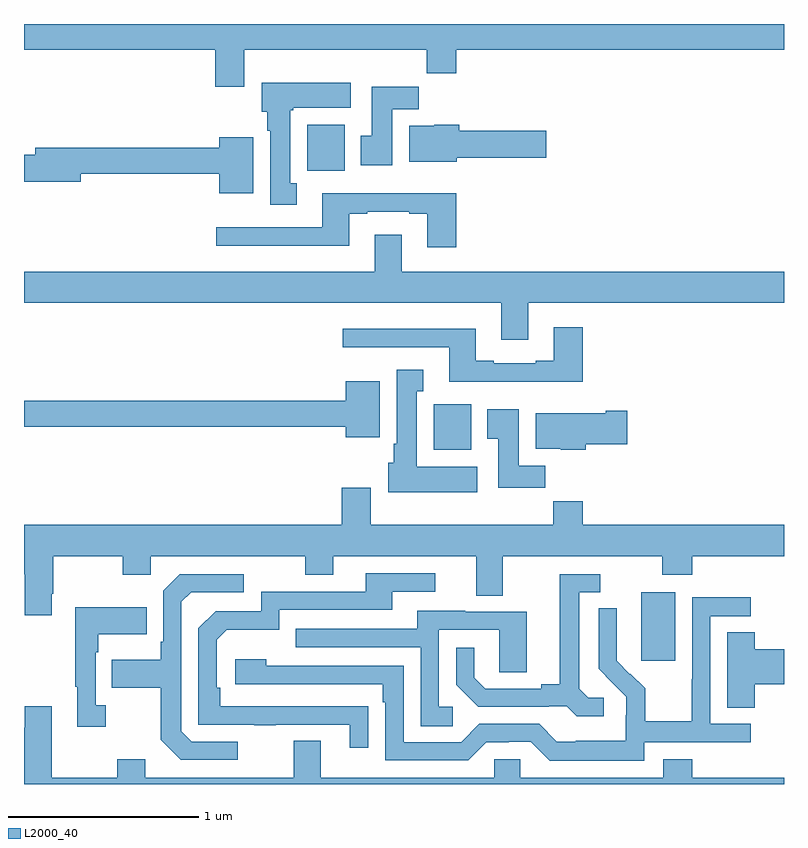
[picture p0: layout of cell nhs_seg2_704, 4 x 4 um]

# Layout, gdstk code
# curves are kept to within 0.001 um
import gdstk
lib = gdstk.Library(unit=1e-6, precision=1e-09)
def R(c, l, rs):  # rectangles x0, y0, x1, y1
    for r in rs: c.add(gdstk.rectangle(r[:2], r[2:], *l))
def P(c, l, *ps):  # polygons
    for p in ps: c.add(gdstk.Polygon(p, *l))
L2000_40 = (2000, 40)

nhs_seg2_704 = lib.new_cell('nhs_seg2_704')
R(nhs_seg2_704, L2000_40, [(150.248,616.449,150.427,616.81), (149.156,617.558,149.353,617.8), (148.49,619.028,148.687,619.27)])
P(nhs_seg2_704, L2000_40, [(151,619.8),(147,619.8),(147,619.664),(148.007,619.664),(148.007,619.47),(148.159,619.47),(148.159,619.664),(149.119,619.664),(149.119,619.54),(149.276,619.54),(149.276,619.664),(151,619.664)],
  [(148.435,618.962),(148.402,618.962),(148.402,619.345),(148.416,619.345),(148.416,619.358),(148.72,619.358),(148.72,619.492),(148.25,619.492),(148.25,619.338),(148.28,619.338),(148.28,619.238),(148.295,619.238),(148.295,618.849),(148.435,618.849)],
  [(148.939,619.352),(149.078,619.352),(149.078,619.471),(148.829,619.471),(148.829,619.212),(148.772,619.212),(148.772,619.056),(148.939,619.056)],
  [(149.278,619.097),(149.749,619.097),(149.749,619.239),(149.291,619.239),(149.291,619.27),(149.16,619.27),(149.16,619.264),(149.027,619.264),(149.027,619.076),(149.278,619.076)],
  [(148.207,619.204),(148.028,619.204),(148.028,619.148),(147.059,619.148),(147.059,619.112),(147,619.112),(147,618.97),(147.298,618.97),(147.298,619.012),(148.028,619.012),(148.028,618.908),(148.207,618.908)],
  [(149.276,618.91),(148.571,618.91),(148.571,618.729),(148.011,618.729),(148.011,618.632),(148.711,618.632),(148.711,618.801),(148.807,618.801),(148.807,618.813),(149.027,618.813),(149.027,618.801),(149.123,618.801),(149.123,618.624),(149.276,618.624)],
  [(149.653,618.332),(151,618.332),(151,618.496),(148.987,618.496),(148.987,618.691),(148.847,618.691),(148.847,618.496),(147,618.496),(147,618.332),(149.513,618.332),(149.513,618.138),(149.653,618.138)],
  [(149.942,618.205),(149.789,618.205),(149.789,618.028),(149.693,618.028),(149.693,618.015),(149.473,618.015),(149.473,618.028),(149.377,618.028),(149.377,618.196),(148.677,618.196),(148.677,618.099),(149.237,618.099),(149.237,617.918),(149.942,617.918)],
  [(149.386,617.47),(149.068,617.47),(149.068,617.867),(149.101,617.867),(149.101,617.98),(148.961,617.98),(148.961,617.59),(148.946,617.59),(148.946,617.49),(148.916,617.49),(148.916,617.336),(149.386,617.336)],
  [(148.873,617.92),(148.694,617.92),(148.694,617.816),(147,617.816),(147,617.68),(148.694,617.68),(148.694,617.624),(148.873,617.624)],
  [(149.744,617.476),(149.605,617.476),(149.605,617.773),(149.438,617.773),(149.438,617.617),(149.495,617.617),(149.495,617.358),(149.744,617.358)],
  [(149.957,617.587),(150.175,617.587),(150.175,617.765),(150.062,617.765),(150.062,617.752),(149.693,617.752),(149.693,617.564),(149.826,617.564),(149.826,617.558),(149.957,617.558)],
  [(147,616.904),(147.005,616.904),(147.005,616.689),(147.145,616.689),(147.145,616.801),(147.153,616.801),(147.153,617),(147.52,617),(147.52,616.901),(147.666,616.901),(147.666,617),(148.48,617),(148.48,616.901),(148.627,616.901),(148.627,617),(149.381,617),(149.381,616.792),(149.521,616.792),(149.521,617),(150.358,617),(150.358,616.901),(150.518,616.901),(150.518,617),(151,617),(151,617.164),(149.942,617.164),(149.942,617.288),(149.785,617.288),(149.785,617.164),(148.825,617.164),(148.825,617.359),(148.673,617.359),(148.673,617.164),(147,617.164)],
  [(148.811,616.208),(148.034,616.209),(148.034,616.306),(148.014,616.306),(148.014,616.56),(148.067,616.613),(148.344,616.613),(148.344,616.716),(148.939,616.716),(148.939,616.812),(149.164,616.812),(149.164,616.908),(148.799,616.908),(148.799,616.812),(148.248,616.812),(148.248,616.71),(148.008,616.71),(147.918,616.62),(147.918,616.113),(148.213,616.113),(148.213,616.108),(148.325,616.108),(148.325,616.113),(148.715,616.113),(148.715,615.99),(148.811,615.99)],
  [(150.052,616.254),(149.97,616.254),(149.923,616.301),(149.923,616.809),(150.034,616.809),(150.034,616.905),(149.819,616.905),(149.819,616.325),(149.723,616.325),(149.723,616.302),(149.428,616.302),(149.371,616.359),(149.371,616.516),(149.274,616.516),(149.274,616.322),(149.39,616.206),(149.762,616.206),(149.762,616.209),(149.856,616.209),(149.908,616.157),(150.052,616.157)],
  [(148.126,616.023),(147.882,616.023),(147.828,616.077),(147.828,616.758),(147.879,616.809),(148.156,616.809),(148.156,616.905),(147.819,616.905),(147.732,616.818),(147.732,616.549),(147.72,616.549),(147.72,616.453),(147.463,616.453),(147.463,616.306),(147.72,616.306),(147.72,616.033),(147.825,615.927),(148.126,615.927)],
  [(150.264,616.02),(150.826,616.02),(150.826,616.116),(150.612,616.116),(150.612,616.683),(150.826,616.683),(150.826,616.782),(150.516,616.782),(150.516,616.352),(150.514,616.352),(150.514,616.129),(150.269,616.129),(150.269,616.303),(150.192,616.38),(150.189,616.377),(150.119,616.448),(150.12,616.724),(150.024,616.724),(150.024,616.406),(150.17,616.258),(150.17,616.161),(150.168,616.161),(150.168,616.027),(149.905,616.027),(149.905,616.023),(149.805,616.023),(149.712,616.116),(149.397,616.116),(149.301,616.02),(148.998,616.02),(148.998,616.422),(148.274,616.422),(148.274,616.456),(148.113,616.456),(148.113,616.326),(148.889,616.326),(148.889,616.229),(148.902,616.229),(148.902,615.924),(149.337,615.924),(149.433,616.02),(149.552,616.02),(149.552,616.023),(149.667,616.023),(149.767,615.923),(150.264,615.923)],
  [(147.43,616.214),(147.378,616.214),(147.378,616.493),(147.391,616.493),(147.391,616.589),(147.647,616.589),(147.647,616.729),(147.27,616.729),(147.27,616.313),(147.281,616.313),(147.281,616.101),(147.43,616.101)],
  [(149.257,616.206),(149.184,616.206),(149.184,616.611),(149.502,616.611),(149.502,616.387),(149.647,616.387),(149.647,616.707),(149.323,616.707),(149.323,616.711),(149.069,616.711),(149.069,616.617),(148.429,616.617),(148.429,616.521),(149.088,616.521),(149.088,616.105),(149.257,616.105)],
  [(150.845,616.325),(151,616.325),(151,616.508),(150.845,616.508),(150.845,616.598),(150.701,616.598),(150.701,616.201),(150.845,616.201)],
  [(151,615.832),(150.518,615.832),(150.518,615.931),(150.365,615.931),(150.365,615.832),(149.613,615.832),(149.613,615.93),(149.475,615.93),(149.475,615.832),(148.561,615.832),(148.561,616.027),(148.421,616.027),(148.421,615.832),(147.637,615.832),(147.637,615.931),(147.49,615.931),(147.49,615.832),(147.145,615.832),(147.145,616.21),(147.005,616.21),(147.005,616.097),(147,616.097),(147,615.8),(151,615.8)])

lib.write_gds('nhs_seg2_704.gds')
